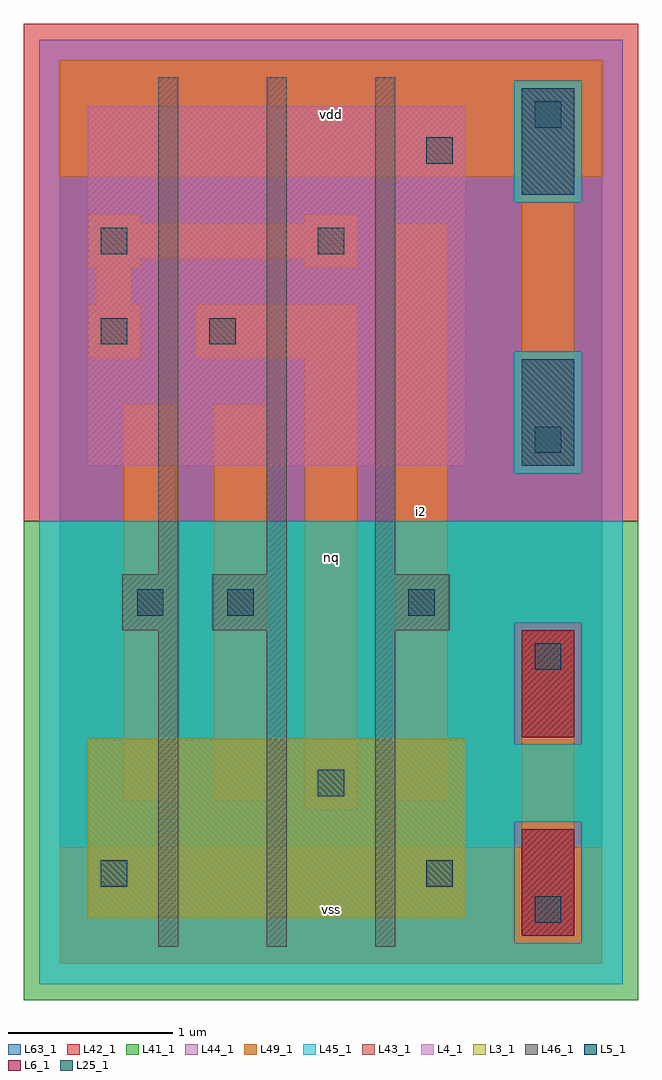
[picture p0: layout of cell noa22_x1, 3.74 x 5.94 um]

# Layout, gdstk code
import gdstk
lib = gdstk.Library(unit=1e-6, precision=1e-09)
def R(c, l, rs):  # rectangles x0, y0, x1, y1
    for r in rs: c.add(gdstk.rectangle(r[:2], r[2:], *l))
def A(c, l, x, y, w, h, nx, ny, dx, dy):  # array of equal rectangles
    R(c, l, [(x+i*dx, y+j*dy, x+i*dx+w, y+j*dy+h) for i in range(nx) for j in range(ny)])
L3_1 = (3, 1)
L4_1 = (4, 1)
L5_1 = (5, 1)
L6_1 = (6, 1)
L25_1 = (25, 1)
L41_1 = (41, 1)
L42_1 = (42, 1)
L43_1 = (43, 1)
L44_1 = (44, 1)
L45_1 = (45, 1)
L46_1 = (46, 1)
L49_1 = (49, 1)
L63_1 = (63, 1)

noa22_x1 = lib.new_cell('noa22_x1')
R(noa22_x1, L3_1, [(0.17,0.28,2.47,1.37)])
R(noa22_x1, L4_1, [(0.17,3.03,2.47,5.22)])
R(noa22_x1, L5_1, [(2.81,3.03,3.13,3.68), (2.81,4.68,3.13,5.33)])
R(noa22_x1, L6_1, [(2.81,0.17,3.13,0.82), (2.81,1.38,3.13,2.03)])
R(noa22_x1, L25_1, [(2.89,0.25,3.05,0.41), (0.25,0.47,0.41,0.63), (2.23,0.47,2.39,0.63), (1.57,1.02,1.73,1.18), (2.89,1.79,3.05,1.95), (0.47,2.12,0.63,2.28), (1.02,2.12,1.18,2.28), (2.12,2.12,2.28,2.28), (2.89,3.11,3.05,3.27), (0.25,3.77,0.41,3.93), (0.91,3.77,1.07,3.93), (0.25,4.32,0.41,4.48), (1.57,4.32,1.73,4.48), (2.23,4.87,2.39,5.03), (2.89,5.09,3.05,5.25)])
R(noa22_x1, L41_1, [(-0.22,-0.22,3.52,2.695)])
R(noa22_x1, L42_1, [(-0.22,2.695,3.52,5.72)])
A(noa22_x1, L43_1, 2.81, 1.38, 0.32, 0.65, 1, 3, 0, 1.65)
R(noa22_x1, L43_1, [(2.81,0.17,3.13,0.82), (0.17,0.28,2.47,1.37), (0.17,3.03,2.47,5.22)])
R(noa22_x1, L44_1, [(2.765,0.125,3.175,0.865), (2.765,1.335,3.175,2.075), (-0.125,2.695,3.425,2.985), (-0.125,2.985,2.765,3.725), (3.175,2.985,3.425,3.725), (-0.125,3.725,3.425,4.635), (-0.125,4.635,2.765,5.375), (3.175,4.635,3.425,5.375), (-0.125,5.375,3.425,5.625)])
R(noa22_x1, L45_1, [(-0.125,-0.125,3.425,0.125), (-0.125,0.125,2.765,0.865), (3.175,0.125,3.425,0.865), (-0.125,0.865,3.425,1.335), (-0.125,1.335,2.765,2.075), (3.175,1.335,3.425,2.075), (-0.125,2.075,3.425,2.695), (2.765,2.985,3.175,3.725), (2.765,4.635,3.175,5.375)])
A(noa22_x1, L46_1, 0.6, 0.105, 0.12, 1.925, 3, 1, 0.66, 0)
A(noa22_x1, L46_1, 0.6, 2.37, 0.12, 3.025, 3, 1, 0.66, 0)
R(noa22_x1, L46_1, [(0.38,2.03,0.72,2.37), (0.93,2.03,1.38,2.37), (1.92,2.03,2.37,2.37)])
R(noa22_x1, L49_1, [(0,0,3.3,0.71), (2.81,0.71,3.13,2.03), (1.49,0.94,1.81,3.69), (0.39,0.995,0.71,3.405), (0.94,0.995,1.26,3.405), (2.04,0.995,2.36,4.505), (2.81,3.03,3.13,4.79), (0.17,3.69,0.49,4.01), (0.83,3.69,1.81,4.01), (0.225,4.01,0.435,4.24), (0.17,4.24,0.49,4.295), (1.49,4.24,1.81,4.295), (0.17,4.295,1.81,4.505), (0.17,4.505,0.49,4.56), (1.49,4.505,1.81,4.56), (0,4.79,3.3,5.5)])
R(noa22_x1, L63_1, [(0,0,3.3,5.5)])
noa22_x1.add(gdstk.Label('vss', (1.65,0.33), layer=49, texttype=1))
noa22_x1.add(gdstk.Label('vss', (1.65,0.33), layer=49, texttype=1))
noa22_x1.add(gdstk.Label('nq', (1.65,2.475), layer=49, texttype=1))
noa22_x1.add(gdstk.Label('nq', (1.65,2.475), layer=49, texttype=1))
noa22_x1.add(gdstk.Label('i2', (2.2,2.75), layer=49, texttype=1))
noa22_x1.add(gdstk.Label('i2', (2.2,2.75), layer=49, texttype=1))
noa22_x1.add(gdstk.Label('vdd', (1.65,5.17), layer=49, texttype=1))
noa22_x1.add(gdstk.Label('vdd', (1.65,5.17), layer=49, texttype=1))

lib.write_gds('noa22_x1.gds')
